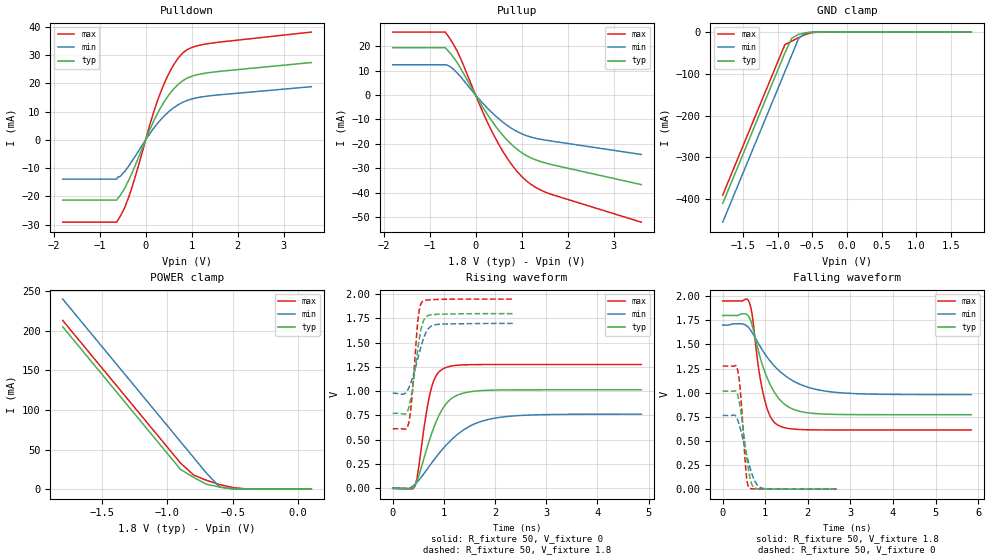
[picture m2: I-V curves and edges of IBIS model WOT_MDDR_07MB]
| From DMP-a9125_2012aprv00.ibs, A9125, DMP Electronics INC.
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[Model]   WOT_MDDR_07MB
|   WOT_MDDR_07MB  MODEL
|   DATE   :  2009/1/14 ;
|   REVISION :  0.1.1 ;
|   Model generated   Wed Jan 14 11:39:10 2009
Model_type  3-state
Polarity   Non-Inverting
Enable   Active-Low
| Signals
Vmeas = 0.9
| variable   typ   min   max
C_comp   1.282pF   1.197pF   1.399pF
[Model Spec]
|   Subparameter   typ   min   max
Vmeas   0.900   0.850   0.975
[Temperature Range]   25   125   -40
|   typ   min   max
[Voltage Range]   1.8V   1.7V   1.95V
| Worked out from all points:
|   slope of the pulldown table from 0 to 0.27 V, typ, clamps not added: 27.8 ohm
|   slope of the pullup table from 0 to 0.27 V, typ, clamps not added: 32.4 ohm
|   GND clamp passes 1 mA (typ) near -0.56 V on its own axis
|   POWER clamp passes 1 mA (typ) near -0.51 V on its own axis
|   rising waveform, R_fixture 50, V_fixture 0: 20-80 % time 415ps typ, 805ps min, 232ps max; typ from 0 V to 1.01 V
|   falling waveform, R_fixture 50, V_fixture 1.8: 20-80 % time 504ps typ, 867ps min, 285ps max; typ from 1.8 V to 0.772 V
|   rising waveform, R_fixture 50, V_fixture 1.8: 20-80 % time 167ps typ, 234ps min, 118ps max; typ from 0.772 V to 1.8 V
|   falling waveform, R_fixture 50, V_fixture 0: 20-80 % time 182ps typ, 266ps min, 119ps max; typ from 1.01 V to 0 V
[Pulldown]
|   Voltage   I(typ)   I(min)   I(max)
-1.8V     -21.3mA    -13.89mA   -29.13mA
-630mV    -21.3mA    -13.89mA   -29.13mA
-450mV    -17.02mA   -11.11mA   -23.83mA
-330mV    -12.96mA   -8.356mA   -18.52mA
120mV     4.665mA    2.896mA    6.911mA
300mV     10.67mA    6.664mA    15.76mA
420mV     13.92mA    8.735mA    20.55mA
600mV     17.89mA    11.29mA    26.38mA
810mV     21.01mA    13.35mA    30.83mA
990mV     22.48mA    14.45mA    32.66mA
1.32V     23.7mA     15.48mA    34.01mA
3.6V      27.42mA    18.87mA    38.2mA
[GND Clamp]
|   Voltage   I(typ)   I(min)   I(max)
-1.8V     -410mA     -455mA     -390mA
-900mV    -50mA      -95mA      -30mA
-800mV    -14.5mA    -55mA      -21.7mA
-700mV    -5.32mA    -15mA      -12.9mA
-600mV    -1.53mA    -2.04mA    -5.7mA
-500mV    -195uA     -140uA     -1.26mA
-400mV    -13.4uA    -9.78uA    -88.4uA
1.8V      0A         0A         0A
[Pullup]
|   Voltage   I(typ)   I(min)   I(max)
|( VDD-Vmeas )
-1.8V     19.39mA    12.38mA    25.75mA
-660mV    19.39mA    12.38mA    25.75mA
-540mV    16.86mA    11.5mA     22.55mA
-390mV    12.93mA    8.83mA     17.61mA
180mV     -5.682mA   -3.821mA   -7.937mA
510mV     -14.57mA   -9.807mA   -20.39mA
690mV     -18.49mA   -12.44mA   -25.93mA
900mV     -22.15mA   -14.9mA    -31.23mA
1.2V      -25.66mA   -17.17mA   -36.51mA
1.41V     -27.18mA   -18.08mA   -38.83mA
1.62V     -28.3mA    -18.74mA   -40.46mA
3.6V      -36.63mA   -24.3mA    -52mA
[POWER Clamp]
|   Voltage   I(typ)   I(min)   I(max)
|( VDD-Vmeas )
-1.8V     205mA      240mA      213mA
-900mV    25mA       60mA       33mA
-800mV    14.9mA     40mA       17.9mA
-700mV    6.09mA     20mA       11.1mA
-600mV    2.68mA     2.56mA     5.76mA
-500mV    731uA      316uA      2.06mA
-400mV    105uA      45.9uA     387uA
100mV     0A         0A         0A
[Rising Waveform]
R_fixture = 50
V_fixture = 0
V_fixture_min = 0
V_fixture_max = 0
C_fixture = 0
L_fixture = 0
|   Time   V(typ)   V(min)   V(max)
0s        41.03uV    -3.156mV   -3.883uV
392ps     1.374mV    21.09mV    -7.4mV
448ps     43.78mV    47.76mV    42.61mV
644ps     368.3mV    175.2mV    733.9mV
728ps     512.8mV    236mV      973.6mV
840ps     674.4mV    315.6mV    1.152V
980ps     822.9mV    406.5mV    1.23V
1.316ns   969.9mV    575.1mV    1.27V
1.988ns   1.012V     721.9mV    1.275V
4.858ns   1.015V     763.4mV    1.275V
[Falling Waveform]
R_fixture = 50
V_fixture = 1.8
V_fixture_min = 1.7
V_fixture_max = 1.95
C_fixture = 0
L_fixture = 0
|   Time   V(typ)   V(min)   V(max)
0s        1.8V       1.7V       1.95V
627ps     1.778V     1.665V     1.934V
693ps     1.697V     1.622V     1.805V
825ps     1.456V     1.52V      1.31V
957ps     1.255V     1.424V     977.7mV
1.122ns   1.078V     1.323V     749.3mV
1.32ns    938.5mV    1.23V      657.9mV
1.749ns   813.8mV    1.1V       619.9mV
2.508ns   776mV      1.01V      613.4mV
5.841ns   771.5mV    979.7mV    613.3mV
[Rising Waveform]
R_fixture = 50
V_fixture = 1.8
V_fixture_min = 1.7
V_fixture_max = 1.95
C_fixture = 0
L_fixture = 0
|   Time   V(typ)   V(min)   V(max)
0s        771.8mV    979.6mV    613.3mV
252ps     767.4mV    982.2mV    609.8mV
312ps     827.5mV    1.032V     671.1mV
372ps     983.1mV    1.117V     911.9mV
492ps     1.441V     1.341V     1.729V
528ps     1.568V     1.412V     1.859V
576ps     1.687V     1.499V     1.922V
684ps     1.778V     1.636V     1.941V
834ps     1.792V     1.685V     1.945V
2.346ns   1.8V       1.699V     1.95V
[Falling Waveform]
R_fixture = 50
V_fixture = 0
V_fixture_min = 0
V_fixture_max = 0
C_fixture = 0
L_fixture = 0
|   Time   V(typ)   V(min)   V(max)
0s        1.015V     763.5mV    1.275V
312ps     1.017V     753.3mV    1.279V
351ps     978.2mV    717.3mV    1.233V
416ps     832.7mV    623.8mV    1.011V
546ps     390.9mV    387.5mV    185.5mV
585ps     262.5mV    316.8mV    54.66mV
624ps     155.7mV    251mV      14.2mV
715ps     26.07mV    122.9mV    3.122mV
929.5ps   2.375mV    10.29mV    987.4uV
2.672ns   8.855uV    123.4uV    96.69nV
[Ramp]
| variables   typ   min   max
dV/dt_r   0.60894/414.56p 0.458093/803.033p 0.76518/231.041p
dV/dt_f   0.617058/503.908p 0.432216/866.795p 0.80205/284.223p
R_load   = 50.000000 | Ohms
| [End Model]
